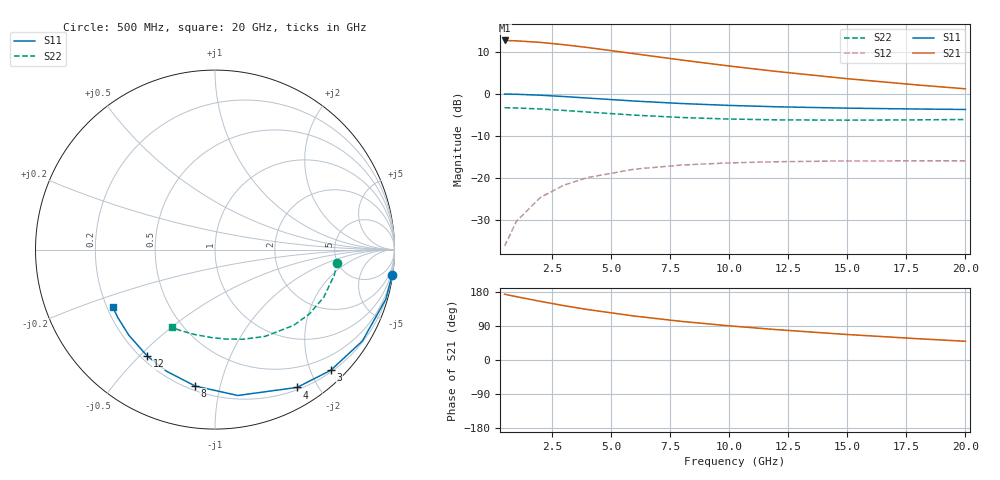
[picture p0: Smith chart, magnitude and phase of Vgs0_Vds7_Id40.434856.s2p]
# Hz S RI R 50
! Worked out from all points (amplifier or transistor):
!   12 points, 500 MHz to 20 GHz, reference 50 ohm
!   highest |S21| = 12.8 dB at 500 MHz (marker M1)
!   |S21| within 3 dB of that: start of sweep to 5.77 GHz
!   unconditionally stable (mu >= 1): 19.16 GHz to end of sweep
!   at 2 GHz: K = 0.10, MSG = 18.5 dB, |S12| = -24.8 dB
!   at 8 GHz: K = 0.40, MSG = 12.5 dB, |S12| = -17.0 dB
!   at 20 GHz: K = 1.05, MAG = 7.2 dB, |S12| = -16.0 dB
!   S11 on the Smith chart (normalised r, x): 500 MHz: 0, -14; 3 GHz: 0.23, -2.33; 4 GHz: 0.23, -1.74; 8 GHz: 0.23, -0.84; 12 GHz: 0.23, -0.53; 20 GHz: 0.22, -0.25
5e8  0.9876 -0.1415  -4.325 0.4883  0.00147 0.0151  0.6808 -0.0726
1e9  0.9515 -0.2768  -4.198 0.9546  0.00574 0.0295  0.6646 -0.1424
2e9  0.8213 -0.509  -3.739 1.75  0.0211 0.0537  0.6059 -0.2655
3e9  0.6448 -0.6725  -3.119 2.303  0.0418 0.0697  0.5256 -0.3586
4e9  0.4567 -0.768  -2.461 2.613  0.0637 0.0775  0.4385 -0.422
6e9  0.1267 -0.8127  -1.319 2.718  0.1014 0.0758  0.2794 -0.4835
8e9  -0.11 -0.7602  -0.5205 2.485  0.127 0.0628  0.1548 -0.4996
1e10  -0.2694 -0.6781  -0.00663 2.157  0.1427 0.0469  0.0587 -0.4981
1.2e10  -0.3773 -0.593  0.3171 1.83  0.1518 0.0314  -0.0187 -0.4902
1.5e10  -0.4804 -0.4766  0.5878 1.403  0.158 0.0108  -0.1142 -0.4729
1.8e10  -0.5427 -0.3764  0.7123 1.061  0.159 -0.00635  -0.1942 -0.4504
2e10  -0.5704 -0.3173  0.7491 0.8746  0.1582 -0.0161  -0.2415 -0.4325
